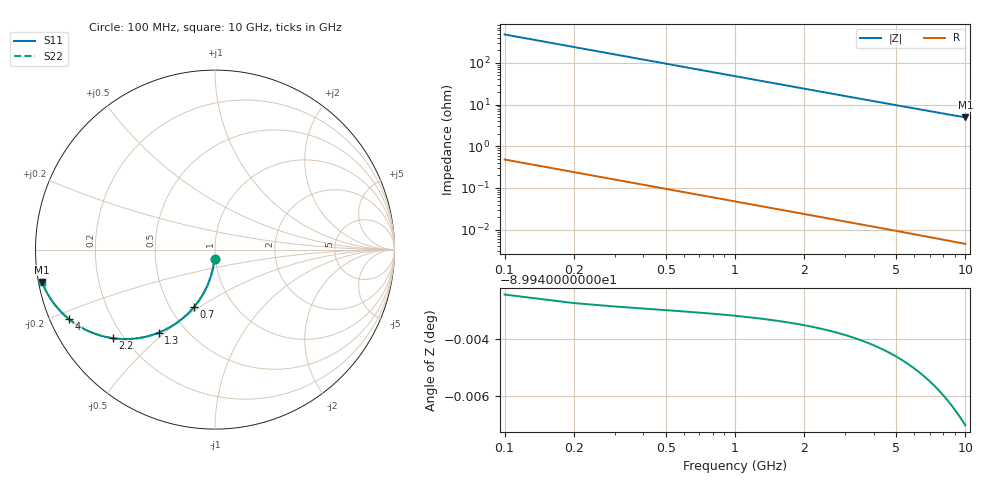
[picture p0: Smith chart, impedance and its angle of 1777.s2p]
# Hz S RI R 50.00
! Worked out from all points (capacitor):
!   100 points, 100 MHz to 10 GHz, reference 50 ohm
!   read as one part in shunt: C = 3.32 pF near 100 MHz
!   lowest |Z| = 4.93 ohm at 10 GHz (marker M1)
!   S11 on the Smith chart (normalised r, x): 100 MHz: 0.99, -0.10; 700 MHz: 0.65, -0.48; 1.3 GHz: 0.35, -0.48; 2.2 GHz: 0.16, -0.37; 4 GHz: 0.06, -0.23; 10 GHz: 0.01, -0.09
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1e8  -0.00275 -0.052  0.9972 -0.052  0.9972 -0.052  -0.00275 -0.052
2e8  -0.0108 -0.103  0.9891 -0.1032  0.9891 -0.1032  -0.0108 -0.103
3e8  -0.024 -0.1525  0.976 -0.1528  0.976 -0.1528  -0.024 -0.1525
4e8  -0.0418 -0.1996  0.9581 -0.2  0.9581 -0.2  -0.0418 -0.1996
5e8  -0.0638 -0.2437  0.9361 -0.2442  0.9361 -0.2442  -0.0638 -0.2437
6e8  -0.0893 -0.2845  0.9106 -0.285  0.9106 -0.285  -0.0893 -0.2845
7e8  -0.1177 -0.3215  0.8822 -0.3221  0.8822 -0.3221  -0.1177 -0.3215
8e8  -0.1484 -0.3546  0.8516 -0.3553  0.8516 -0.3553  -0.1484 -0.3546
1e9  -0.2138 -0.409  0.7862 -0.41  0.7862 -0.41  -0.2138 -0.409
1.3e9  -0.3146 -0.4633  0.6853 -0.4645  0.6853 -0.4645  -0.3146 -0.4633
1.5e9  -0.3792 -0.484  0.6208 -0.4854  0.6208 -0.4854  -0.3792 -0.484
1.8e9  -0.4677 -0.4976  0.5323 -0.4993  0.5323 -0.4993  -0.4677 -0.4976
2.2e9  -0.5673 -0.4939  0.4327 -0.496  0.4327 -0.496  -0.5673 -0.4939
2.5e9  -0.6285 -0.4816  0.3715 -0.4839  0.3715 -0.4839  -0.6285 -0.4816
2.8e9  -0.6795 -0.4649  0.3205 -0.4675  0.3205 -0.4675  -0.6795 -0.4649
3.4e9  -0.7574 -0.4266  0.2426 -0.4297  0.2426 -0.4297  -0.7574 -0.4266
4e9  -0.8118 -0.3885  0.1881 -0.3922  0.1881 -0.3922  -0.8118 -0.3885
4.5e9  -0.8451 -0.3592  0.1549 -0.3634  0.1549 -0.3634  -0.8451 -0.3592
5.1e9  -0.875 -0.3278  0.125 -0.3326  0.125 -0.3326  -0.875 -0.3278
6.7e9  -0.9234 -0.2622  0.0765 -0.2686  0.0765 -0.2686  -0.9234 -0.2622
8.4e9  -0.9498 -0.2137  0.0501 -0.2217  0.0501 -0.2217  -0.9498 -0.2137
1e10  -0.9641 -0.1806  0.0358 -0.1902  0.0358 -0.1902  -0.9641 -0.1806
